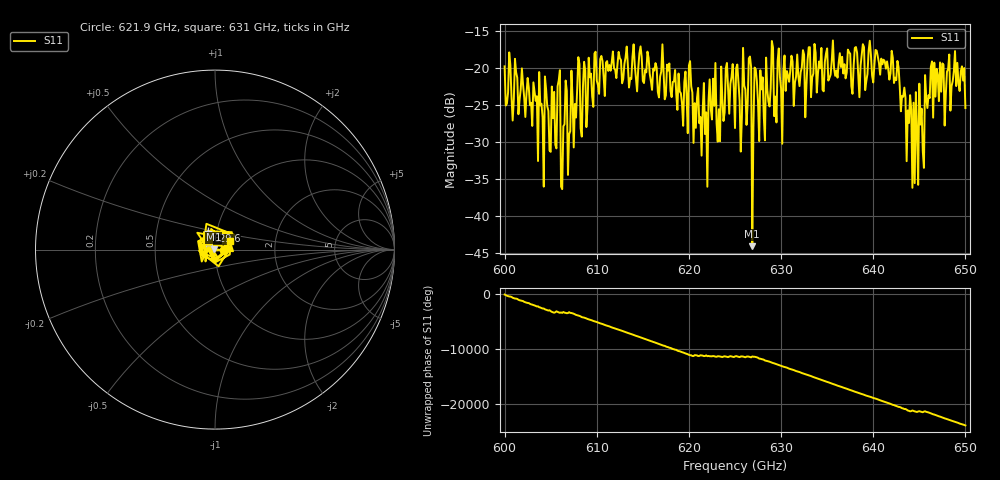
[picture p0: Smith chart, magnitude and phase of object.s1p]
!Created with skrf (http://scikit-rf.org).
# GHz S MA R 50.0
!freq magS11 angS11
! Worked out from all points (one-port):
!   401 points, 600 GHz to 650 GHz, reference 50 ohm
!   lowest |S11| = -44.1 dB at 626.9 GHz (marker M1), VSWR 1.01, Z = 49.4 + j0.194 ohm
!   |S11| at or under -10 dB: start of sweep to end of sweep
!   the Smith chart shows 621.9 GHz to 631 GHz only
!   S11 on the Smith chart (normalised r, x): 621.9 GHz: 1.11, -0.00; 629.6 GHz: 0.90, +0.19; 631 GHz: 1.17, +0.12
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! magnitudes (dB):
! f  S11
! 600 GHz  -19.8
! 605 GHz  -31.4
! 605.8 GHz  -22.5
! 606.2 GHz  -36.4
! 607.6 GHz  -24.9
! 607.9 GHz  -22.9
! 612.5 GHz  -18.7
! 618.8 GHz  -25.7
! 620.1 GHz  -19.1
! 621.9 GHz  -26.0
! 622.4 GHz  -25.6
! 623.2 GHz  -25.6
! 625 GHz  -28.2
! 625.5 GHz  -24.4
! 626.5 GHz  -18.7
! 626.9 GHz  -44.1
! 627.1 GHz  -20.0
! 627.2 GHz  -20.2
! 629.6 GHz  -19.1
! 631 GHz  -20.4
! 631.2 GHz  -19.2
! 637.5 GHz  -18.1
! 641.9 GHz  -20.8
! 643.8 GHz  -25.8
! 644.6 GHz  -23.3
! 646.4 GHz  -19.2
! 648.9 GHz  -17.8
! 650 GHz  -25.5
